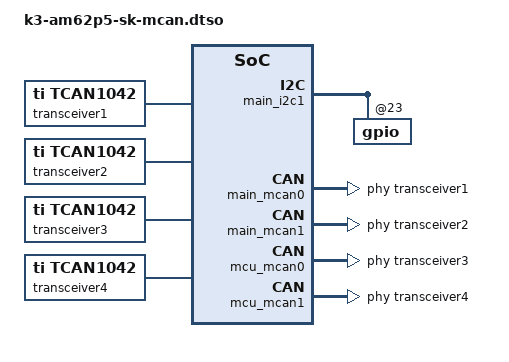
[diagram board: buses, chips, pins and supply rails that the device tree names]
// SPDX-License-Identifier: GPL-2.0
/**
 * DT overlay for enabling MCAN for AM62P-SK
 *
 * Copyright (C) 2023 Texas Instruments Incorporated - https://www.ti.com/
 */

/dts-v1/;
/plugin/;

#include <dt-bindings/gpio/gpio.h>
#include "k3-pinctrl.h"

&{/} {
	transceiver1: can-phy0 {
		compatible = "ti,tcan1042";
		#phy-cells = <0>;
		max-bitrate = <5000000>;
	};

	transceiver2: can-phy1 {
		compatible = "ti,tcan1042";
		#phy-cells = <0>;
		max-bitrate = <5000000>;
	};

	transceiver3: can-phy2 {
		compatible = "ti,tcan1042";
		#phy-cells = <0>;
		max-bitrate = <5000000>;
	};

	transceiver4: can-phy3 {
		compatible = "ti,tcan1042";
		#phy-cells = <0>;
		max-bitrate = <5000000>;
	};
};

&main_pmx0 {
	main_mcan0_pins_default: main-mcan0-pins-default {
		pinctrl-single,pins = <
			AM62PX_IOPAD(0x01dc, PIN_INPUT, 0) /* (F20) MCAN0_RX */
			AM62PX_IOPAD(0x01d8, PIN_OUTPUT, 0) /* (B23) MCAN0_TX */
		>;
	};

	main_mcan1_pins_default: main-mcan1-pins-default {
		pinctrl-single,pins = <
			AM62PX_IOPAD(0x00b4, PIN_INPUT, 5) /* (U25) GPMC0_CSn3.MCAN1_RX */
			AM62PX_IOPAD(0x00b0, PIN_OUTPUT, 5) /* (T22) GPMC0_CSn2.MCAN1_TX */
		>;
	};
};

&mcu_pmx0 {
	mcu_mcan0_pins_default: mcu-mcan0-pins-default {
		pinctrl-single,pins = <
			AM62PX_MCU_IOPAD(0x0038, PIN_INPUT, 0) /* (D6) MCU_MCAN0_RX */
			AM62PX_MCU_IOPAD(0x0034, PIN_OUTPUT, 0) /* (E8) MCU_MCAN0_TX */
		>;
	};

	mcu_mcan1_pins_default: mcu-mcan1-pins-default {
		pinctrl-single,pins = <
			AM62PX_MCU_IOPAD(0x0040, PIN_INPUT, 0) /* (E7) MCU_MCAN1_RX */
			AM62PX_MCU_IOPAD(0x003c, PIN_OUTPUT, 0) /* (F8) MCU_MCAN1_TX */
		>;
	};
};

&main_i2c2{
	/*
	* main_i2c2 is using (U25) and (T22)
	* so disable to use main_mcan1
	*/
	status = "disabled";
};

&main_i2c1 {
	/*
	* Unset GPIO SoC_I2C2_MCAN_SEL to
	* route MCAN1 signals to MCAN1 HDR
	*/
	gpio@23 {
		p20-hog {
		/* P20 - SoC_I2C2_MCAN_SEL */
		gpio-hog;
		gpios = <16 GPIO_ACTIVE_HIGH>;
		output-low;
		line-name = "SoC_I2C2_MCAN_SEL";
		};
	};
};

&main_mcan0 {
	status = "okay";
	pinctrl-names = "default";
	pinctrl-0 = <&main_mcan0_pins_default>;
	phys = <&transceiver1>;
};

&main_mcan1 {
	status = "okay";
	pinctrl-names = "default";
	pinctrl-0 = <&main_mcan1_pins_default>;
	phys = <&transceiver2>;
};

&mcu_mcan0 {
	status = "okay";
	pinctrl-names = "default";
	pinctrl-0 = <&mcu_mcan0_pins_default>;
	phys = <&transceiver3>;
};

&mcu_mcan1 {
	status = "okay";
	pinctrl-names = "default";
	pinctrl-0 = <&mcu_mcan1_pins_default>;
	phys = <&transceiver4>;
};
